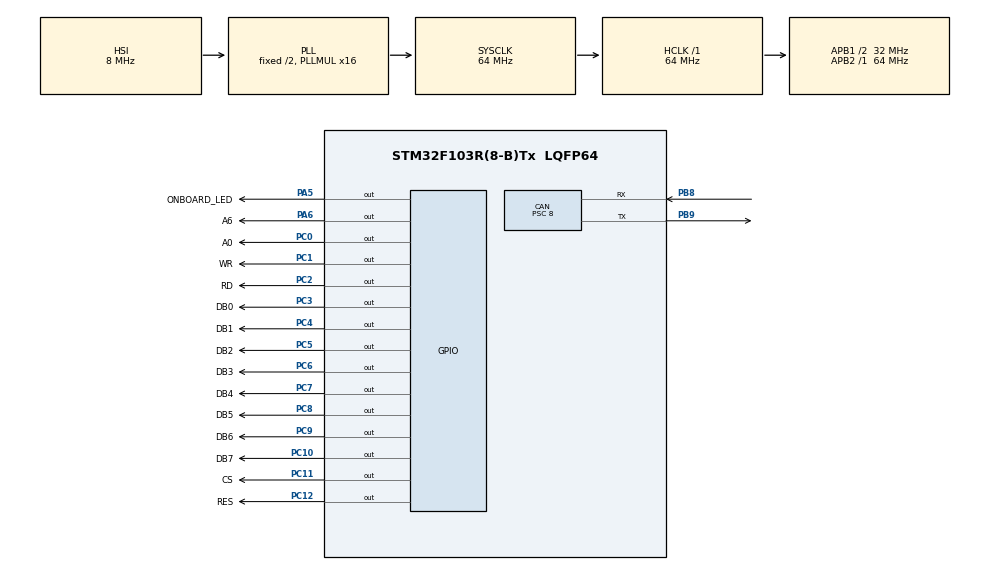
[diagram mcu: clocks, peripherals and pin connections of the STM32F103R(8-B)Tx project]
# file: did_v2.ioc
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CAN.BS1=CAN_BS1_13TQ
CAN.BS2=CAN_BS2_4TQ
CAN.CalculateBaudRate=222222
CAN.CalculateTimeBit=4500
CAN.CalculateTimeQuantum=250.0
CAN.Prescaler=8
Mcu.Family=STM32F1
Mcu.Name=STM32F103R(8-B)Tx
Mcu.Package=LQFP64
NVIC.PriorityGroup=NVIC_PRIORITYGROUP_4
NVIC.TIM2_IRQn=true\:0\:0\:false\:false\:true\:true\:true\:true
NVIC.USB_LP_CAN1_RX0_IRQn=true\:0\:0\:false\:false\:true\:true\:true\:true
PA5.GPIO_Label=ONBOARD_LED
PA5.Signal=GPIO_Output
PA6.GPIO_Label=A6
PA6.Signal=GPIO_Output
PB8.Mode=CAN_Activate
PB8.Signal=CAN_RX
PB9.Mode=CAN_Activate
PB9.Signal=CAN_TX
PC0.GPIO_Label=A0
PC0.Signal=GPIO_Output
PC1.GPIO_Label=WR
PC1.Signal=GPIO_Output
PC10.GPIO_Label=DB7
PC10.Signal=GPIO_Output
PC11.GPIO_Label=CS
PC11.Signal=GPIO_Output
PC12.GPIO_Label=RES
PC12.Signal=GPIO_Output
PC2.GPIO_Label=RD
PC2.Signal=GPIO_Output
PC3.GPIO_Label=DB0
PC3.Signal=GPIO_Output
PC4.GPIO_Label=DB1
PC4.Signal=GPIO_Output
PC5.GPIO_Label=DB2
PC5.Signal=GPIO_Output
PC6.GPIO_Label=DB3
PC6.Signal=GPIO_Output
PC7.GPIO_Label=DB4
PC7.Signal=GPIO_Output
PC8.GPIO_Label=DB5
PC8.Signal=GPIO_Output
PC9.GPIO_Label=DB6
PC9.Signal=GPIO_Output
ProjectManager.HeapSize=0x200
ProjectManager.StackSize=0x400
ProjectManager.TargetToolchain=STM32CubeIDE
RCC.AHBFreq_Value=64000000
RCC.APB1CLKDivider=RCC_HCLK_DIV2
RCC.APB1Freq_Value=32000000
RCC.APB1TimFreq_Value=64000000
RCC.APB2Freq_Value=64000000
RCC.APB2TimFreq_Value=64000000
RCC.HCLKFreq_Value=64000000
RCC.PLLMUL=RCC_PLL_MUL16
RCC.SYSCLKFreq_VALUE=64000000
RCC.SYSCLKSource=RCC_SYSCLKSOURCE_PLLCLK
RCC.USBFreq_Value=64000000
TIM2.Period=64000-1
TIM2.Prescaler=5000-1
VP_SYS_VS_ND.Mode=No_Debug
VP_TIM2_VS_ClockSourceINT.Mode=Internal
board=custom

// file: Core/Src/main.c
/* USER CODE BEGIN Header */
/**
  ******************************************************************************
  * @file           : main.c
  * @brief          : Main program body
  ******************************************************************************
  * @attention
  *
  * Copyright (c) 2022 STMicroelectronics.
  * All rights reserved.
  *
  * This software is licensed under terms that can be found in the LICENSE file
  * in the root directory of this software component.
  * If no LICENSE file comes with this software, it is provided AS-IS.
  *
  ******************************************************************************
  */
/* USER CODE END Header */
#include "main.h"
#include "can.h"
#include "tim.h"
#include "gpio.h"

/* USER CODE BEGIN Includes */

#include "LCD.h"

/* USER CODE END Includes */

/* USER CODE BEGIN PV */

// CAN filtering
CAN_FilterTypeDef CAN_filter0;
CAN_FilterTypeDef CAN_filter1;

// CAN receiving
uint8_t receive_flag = 0x00;
CAN_RxHeaderTypeDef CAN_rx_header;
uint8_t CAN_rx_data[8];

// Changing pages
uint8_t button_pressed = 0;
uint8_t timer_at_max = 0;

/* USER CODE END PV */

void SystemClock_Config(void);

/* USER CODE BEGIN 0 */

// CAN interrupt callback function
void HAL_CAN_RxFifo0MsgPendingCallback(CAN_HandleTypeDef *hcan) {
	// Set message flag to 1 so that the update display task can execute
	receive_flag = 0x01;
}

// TIM5 interrupt function for period elapsing (HAL page 1018)
void HAL_TIM_PeriodElapsedCallback(TIM_HandleTypeDef *htim)
{
	// EXPECTED PERIOD: the callback will be invoked every X seconds

	// Check if the correct timer is triggering the interrupt
	if (htim == &htim2)
	{
		// Blink on board LED
		// Prescalar of 6400 and autoreload of 10000 for a 1 second on 1 second off
		HAL_GPIO_TogglePin(GPIOA, GPIO_PIN_5);
	}

	// current_page = 1;
}

// Blink LED function for testing
void blink_A6(int num, int delay)
{
	for (int i = 0; i < num; i++)
	{
		HAL_GPIO_WritePin(GPIOA, GPIO_PIN_6, 1);
		HAL_Delay(delay);
		HAL_GPIO_WritePin(GPIOA, GPIO_PIN_6, 0);
		HAL_Delay(delay);
	}
}

/* USER CODE END 0 */

int main(void)
{

  /* MCU Configuration--------------------------------------------------------*/

  /* Reset of all peripherals, Initializes the Flash interface and the Systick. */
  HAL_Init();

  /* Configure the system clock */
  SystemClock_Config();

  /* Initialize all configured peripherals */
  MX_GPIO_Init();
  MX_CAN_Init();
  MX_TIM2_Init();
  /* USER CODE BEGIN 2 */

  // Start timer for using interrupts (HAL page 1015)
  HAL_TIM_Base_Start_IT(&htim2);

  // CAN initialization
  CanFilterSetup();
  HAL_CAN_Start(&hcan);

  // LCD initialization
  ScreenSetup();
  ClearScreen();
  DisplayScreen();

  /* USER CODE END 2 */

  /* Infinite loop */
  /* USER CODE BEGIN WHILE */
  while (1)
  {

	blink_A6(1,5000);

	// uint32_t t = __HAL_TIM_GET_COUNTER(&htim5);

	if (receive_flag == 0x01)
	{
		// Set the flag to 0 to allow the next interrupt to be recognized
		receive_flag = 0x00;

		// Check if message is available
		if (HAL_CAN_GetRxFifoFillLevel(&hcan, CAN_RX_FIFO0) != 0)
		{
			// Populate CAN header and data variables
			HAL_CAN_GetRxMessage(&hcan, CAN_RX_FIFO0, &CAN_rx_header, CAN_rx_data);

			// Find the matching data that needs to be updated
			for (uint8_t struct_index = 0; struct_index < NUM_CAN_IDS; struct_index++)
			{
				if (DisplayDataArray[struct_index].can_id == CAN_rx_header.StdId)
				{
					// Populate data for the specific CAN ID in DisplayDataArray identified in the loop above
					for (int data_index = 0; data_index < 8; data_index++)
					{
						DisplayDataArray[struct_index].raw_data[data_index] = CAN_rx_data[data_index];
					}

					// Check for next page button press
					if (CAN_rx_header.StdId == 0x400)
					{
						// Check the first bit of the first byte
						if (DisplayDataArray[0].raw_data[0] & 0B0000001)
						{
							// Increase page by 1 or bring back to first page
							if (++current_page > PAGE_NUM_MAX)
							{
								current_page++;

								// --- TESTING START
								blink_A6(1,10000); // stay on when page change is pressed
								// --- TESTING END

							}
						}
					}
				}
			}
			// Display screen with updated parameters
			DisplayScreen();

			// --- TESTING START
			blink_A6(5,200);
			// --- TESTING END
		}
	}

    /* USER CODE END WHILE */

  }
}

void SystemClock_Config(void)
{
  RCC_OscInitTypeDef RCC_OscInitStruct = {0};
  RCC_ClkInitTypeDef RCC_ClkInitStruct = {0};

  /** Initializes the RCC Oscillators according to the specified parameters
  * in the RCC_OscInitTypeDef structure.
  */
  RCC_OscInitStruct.OscillatorType = RCC_OSCILLATORTYPE_HSI;
  RCC_OscInitStruct.HSIState = RCC_HSI_ON;
  RCC_OscInitStruct.HSICalibrationValue = RCC_HSICALIBRATION_DEFAULT;
  RCC_OscInitStruct.PLL.PLLState = RCC_PLL_ON;
  RCC_OscInitStruct.PLL.PLLSource = RCC_PLLSOURCE_HSI_DIV2;
  RCC_OscInitStruct.PLL.PLLMUL = RCC_PLL_MUL16;
  if (HAL_RCC_OscConfig(&RCC_OscInitStruct) != HAL_OK)
  {
    Error_Handler();
  }

  /** Initializes the CPU, AHB and APB buses clocks
  */
  RCC_ClkInitStruct.ClockType = RCC_CLOCKTYPE_HCLK|RCC_CLOCKTYPE_SYSCLK
                              |RCC_CLOCKTYPE_PCLK1|RCC_CLOCKTYPE_PCLK2;
  RCC_ClkInitStruct.SYSCLKSource = RCC_SYSCLKSOURCE_PLLCLK;
  RCC_ClkInitStruct.AHBCLKDivider = RCC_SYSCLK_DIV1;
  RCC_ClkInitStruct.APB1CLKDivider = RCC_HCLK_DIV2;
  RCC_ClkInitStruct.APB2CLKDivider = RCC_HCLK_DIV1;

  if (HAL_RCC_ClockConfig(&RCC_ClkInitStruct, FLASH_LATENCY_2) != HAL_OK)
  {
    Error_Handler();
  }
}

void Error_Handler(void)
{
  __disable_irq();
  while (1)
  {
  }
}
